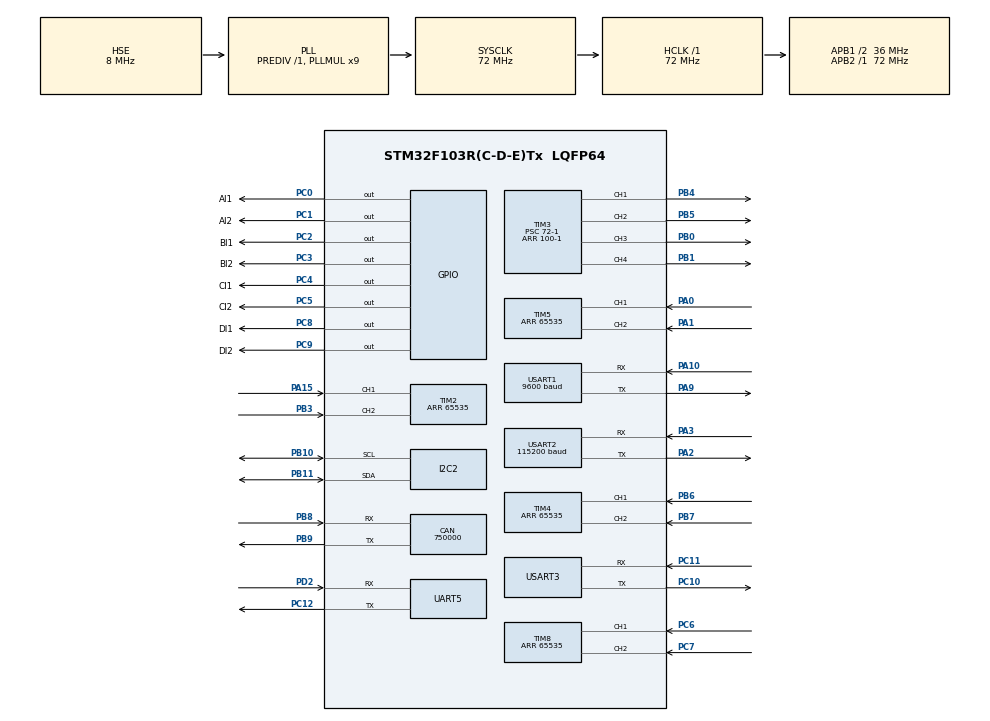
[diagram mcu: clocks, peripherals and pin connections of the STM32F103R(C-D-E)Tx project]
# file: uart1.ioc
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CAN.CalculateBaudRate=750000
CAN.CalculateTimeBit=1333.33
CAN.CalculateTimeQuantum=444.44444444444446
Mcu.Family=STM32F1
Mcu.Name=STM32F103R(C-D-E)Tx
Mcu.Package=LQFP64
NVIC.PriorityGroup=NVIC_PRIORITYGROUP_4
NVIC.TIM2_IRQn=true\:0\:0\:true\:false\:true\:true\:true
NVIC.TIM4_IRQn=true\:0\:0\:false\:false\:true\:true\:true
NVIC.TIM5_IRQn=true\:0\:0\:false\:false\:true\:true\:true
NVIC.TIM6_IRQn=true\:0\:0\:false\:false\:true\:true\:true
NVIC.TIM7_IRQn=true\:1\:0\:true\:false\:true\:true\:true
NVIC.TIM8_BRK_IRQn=true\:0\:0\:false\:false\:true\:true\:true
NVIC.USART1_IRQn=true\:0\:0\:false\:false\:true\:true\:true
NVIC.USART2_IRQn=true\:0\:0\:false\:false\:true\:true\:true
PA0-WKUP.GPIO_PuPd=GPIO_PULLUP
PA0-WKUP.Signal=S_TIM5_CH1
PA1.GPIO_PuPd=GPIO_PULLUP
PA1.Signal=S_TIM5_CH2
PA10.Mode=Asynchronous
PA10.Signal=USART1_RX
PA13.Mode=Serial_Wire
PA13.Signal=SYS_JTMS-SWDIO
PA14.Mode=Serial_Wire
PA14.Signal=SYS_JTCK-SWCLK
PA15.GPIO_PuPd=GPIO_PULLUP
PA15.Signal=S_TIM2_CH1_ETR
PA2.Mode=Asynchronous
PA2.Signal=USART2_TX
PA3.Mode=Asynchronous
PA3.Signal=USART2_RX
PA9.Mode=Asynchronous
PA9.Signal=USART1_TX
PB0.Signal=S_TIM3_CH3
PB1.Signal=S_TIM3_CH4
PB10.Mode=I2C
PB10.Signal=I2C2_SCL
PB11.Mode=I2C
PB11.Signal=I2C2_SDA
PB3.GPIO_PuPd=GPIO_PULLUP
PB3.Signal=S_TIM2_CH2
PB4.Signal=S_TIM3_CH1
PB5.Signal=S_TIM3_CH2
PB6.GPIO_PuPd=GPIO_PULLUP
PB6.Signal=S_TIM4_CH1
PB7.GPIO_PuPd=GPIO_PULLUP
PB7.Signal=S_TIM4_CH2
PB8.Mode=CAN_Activate
PB8.Signal=CAN_RX
PB9.Mode=CAN_Activate
PB9.Signal=CAN_TX
PC0.GPIO_Label=AI1
PC0.GPIO_PuPd=GPIO_PULLUP
PC0.PinState=GPIO_PIN_SET
PC0.Signal=GPIO_Output
PC1.GPIO_Label=AI2
PC1.GPIO_PuPd=GPIO_PULLUP
PC1.PinState=GPIO_PIN_RESET
PC1.Signal=GPIO_Output
PC10.Mode=Asynchronous
PC10.Signal=USART3_TX
PC11.Mode=Asynchronous
PC11.Signal=USART3_RX
PC12.Mode=Asynchronous
PC12.Signal=UART5_TX
PC2.GPIO_Label=BI1
PC2.GPIO_ModeDefaultOutputPP=GPIO_MODE_OUTPUT_PP
PC2.GPIO_PuPd=GPIO_PULLUP
PC2.PinState=GPIO_PIN_SET
PC2.Signal=GPIO_Output
PC3.GPIO_Label=BI2
PC3.GPIO_PuPd=GPIO_PULLUP
PC3.PinState=GPIO_PIN_RESET
PC3.Signal=GPIO_Output
PC4.GPIO_Label=CI1
PC4.GPIO_PuPd=GPIO_PULLUP
PC4.PinState=GPIO_PIN_SET
PC4.Signal=GPIO_Output
PC5.GPIO_Label=CI2
PC5.GPIO_PuPd=GPIO_PULLUP
PC5.PinState=GPIO_PIN_RESET
PC5.Signal=GPIO_Output
PC6.GPIO_PuPd=GPIO_PULLUP
PC6.Signal=S_TIM8_CH1
PC7.GPIO_PuPd=GPIO_PULLUP
PC7.Signal=S_TIM8_CH2
PC8.GPIO_Label=DI1
PC8.GPIO_PuPd=GPIO_PULLUP
PC8.PinState=GPIO_PIN_SET
PC8.Signal=GPIO_Output
PC9.GPIO_Label=DI2
PC9.GPIO_PuPd=GPIO_PULLUP
PC9.PinState=GPIO_PIN_RESET
PC9.Signal=GPIO_Output
PD0-OSC_IN.Mode=HSE-External-Oscillator
PD0-OSC_IN.Signal=RCC_OSC_IN
PD1-OSC_OUT.Mode=HSE-External-Oscillator
PD1-OSC_OUT.Signal=RCC_OSC_OUT
PD2.Mode=Asynchronous
PD2.Signal=UART5_RX
ProjectManager.HeapSize=0x200
ProjectManager.StackSize=0x400
ProjectManager.TargetToolchain=MDK-ARM V5.32
RCC.AHBFreq_Value=72000000
RCC.APB1CLKDivider=RCC_HCLK_DIV2
RCC.APB1Freq_Value=36000000
RCC.APB1TimFreq_Value=72000000
RCC.APB2Freq_Value=72000000
RCC.APB2TimFreq_Value=72000000
RCC.HCLKFreq_Value=72000000
RCC.PLLMUL=RCC_PLL_MUL9
RCC.PLLSourceVirtual=RCC_PLLSOURCE_HSE
RCC.SYSCLKFreq_VALUE=72000000
RCC.SYSCLKSource=RCC_SYSCLKSOURCE_PLLCLK
RCC.USBFreq_Value=72000000
SH.S_TIM2_CH1_ETR.0=TIM2_CH1,Encoder_Interface
SH.S_TIM2_CH2.0=TIM2_CH2,Encoder_Interface
SH.S_TIM3_CH1.0=TIM3_CH1,PWM Generation1 CH1
SH.S_TIM3_CH2.0=TIM3_CH2,PWM Generation2 CH2
SH.S_TIM3_CH3.0=TIM3_CH3,PWM Generation3 CH3
SH.S_TIM3_CH4.0=TIM3_CH4,PWM Generation4 CH4
SH.S_TIM4_CH1.0=TIM4_CH1,Encoder_Interface
SH.S_TIM4_CH2.0=TIM4_CH2,Encoder_Interface
SH.S_TIM5_CH1.0=TIM5_CH1,Encoder_Interface
SH.S_TIM5_CH2.0=TIM5_CH2,Encoder_Interface
SH.S_TIM8_CH1.0=TIM8_CH1,Encoder_Interface
SH.S_TIM8_CH2.0=TIM8_CH2,Encoder_Interface
TIM2.AutoReloadPreload=TIM_AUTORELOAD_PRELOAD_DISABLE
TIM2.EncoderMode=TIM_ENCODERMODE_TI12
TIM2.IC1Filter=6
TIM2.IC2Filter=6
TIM2.Period=65535
TIM3.AutoReloadPreload=TIM_AUTORELOAD_PRELOAD_ENABLE
TIM3.Channel-PWM\ Generation1\ CH1=TIM_CHANNEL_1
TIM3.Channel-PWM\ Generation2\ CH2=TIM_CHANNEL_2
TIM3.Channel-PWM\ Generation3\ CH3=TIM_CHANNEL_3
TIM3.Channel-PWM\ Generation4\ CH4=TIM_CHANNEL_4
TIM3.Period=100-1
TIM3.Prescaler=72-1
TIM4.AutoReloadPreload=TIM_AUTORELOAD_PRELOAD_DISABLE
TIM4.EncoderMode=TIM_ENCODERMODE_TI12
TIM4.IC1Filter=6
TIM4.IC2Filter=6
TIM4.Period=65535
TIM5.EncoderMode=TIM_ENCODERMODE_TI12
TIM5.IC1Filter=6
TIM5.IC2Filter=6
TIM5.Period=65535
TIM6.AutoReloadPreload=TIM_AUTORELOAD_PRELOAD_ENABLE
TIM6.Period=100-1
TIM6.Prescaler=72-1
TIM7.AutoReloadPreload=TIM_AUTORELOAD_PRELOAD_ENABLE
TIM7.Period=100-1
TIM7.Prescaler=1440-1
TIM8.EncoderMode=TIM_ENCODERMODE_TI12
TIM8.IC1Filter=6
TIM8.IC2Filter=6
TIM8.Period=65535
UART5.VirtualMode=Asynchronous
USART1.BaudRate=9600
USART1.VirtualMode=VM_ASYNC
USART2.BaudRate=115200
USART2.VirtualMode=VM_ASYNC
USART3.VirtualMode=VM_ASYNC
VP_TIM6_VS_ClockSourceINT.Mode=Enable_Timer
VP_TIM7_VS_ClockSourceINT.Mode=Enable_Timer
board=custom

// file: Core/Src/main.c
/* USER CODE BEGIN Header */
/**
  ******************************************************************************
  * @file           : main.c
  * @brief          : Main program body
  ******************************************************************************
  * @attention
  *
  * <h2><center>&copy; Copyright (c) 2024 STMicroelectronics.
  * All rights reserved.</center></h2>
  *
  * This software component is licensed by ST under BSD 3-Clause license,
  * the "License"; You may not use this file except in compliance with the
  * License. You may obtain a copy of the License at:
  *                        opensource.org/licenses/BSD-3-Clause
  *
  ******************************************************************************
  */
/* USER CODE END Header */
#include "main.h"
#include "can.h"
#include "i2c.h"
#include "tim.h"
#include "usart.h"
#include "gpio.h"

/* USER CODE BEGIN Includes */
#include "callback.h"
#include "motor.h"

/* USER CODE END Includes */

void SystemClock_Config(void);

int main(void)
{

  /* MCU Configuration--------------------------------------------------------*/

  /* Reset of all peripherals, Initializes the Flash interface and the Systick. */
  HAL_Init();

  /* Configure the system clock */
  SystemClock_Config();

  /* Initialize all configured peripherals */
  MX_GPIO_Init();
  MX_USART1_UART_Init();
  MX_USART2_UART_Init();
  MX_TIM2_Init();
  MX_TIM3_Init();
  MX_TIM4_Init();
  MX_TIM5_Init();
  MX_TIM8_Init();
  MX_TIM7_Init();
  MX_CAN_Init();
  MX_I2C2_Init();
  MX_TIM6_Init();
  MX_UART5_Init();
  MX_USART3_UART_Init();
  /* USER CODE BEGIN 2 */
/* ????while(1)?? */
	HAL_UART_Receive_IT(&huart1, &Data, 1);//????????
	HAL_UART_Receive_IT(&huart2, &USART2Byte, 1);//????????
	HAL_UART_Receive_IT(&huart3, &USART3Byte, 1);//????????
	HAL_UART_Receive_IT(&huart5, &USART5Byte, 1);//???????
	Motor_Init();
			MotorSet(-65,-80,-50,-50);

  /* USER CODE END 2 */

  /* Infinite loop */
  while (1)
  {

    /* USER CODE BEGIN 3 */
		if(USART2_RX_STA&0x8000)
		{
		//	printf("Yaw Angle: %.2f \r\n", yaw_angle);
			USART2_RX_STA=0;
		}
		if(TIME7_STA==1){
			printf("speed1: %f  \r\n",Speed2);
			TIME7_STA=0;
			//cal speed & motor here with timer controll every 10sconeds
		}
		if(TIME6_STA==1){
			TIME6_STA=0;
		}
		HAL_Delay(1000);
  }

  /* USER CODE END 3 */
}

void SystemClock_Config(void)
{
  RCC_OscInitTypeDef RCC_OscInitStruct = {0};
  RCC_ClkInitTypeDef RCC_ClkInitStruct = {0};

  /** Initializes the RCC Oscillators according to the specified parameters
  * in the RCC_OscInitTypeDef structure.
  */
  RCC_OscInitStruct.OscillatorType = RCC_OSCILLATORTYPE_HSE;
  RCC_OscInitStruct.HSEState = RCC_HSE_ON;
  RCC_OscInitStruct.HSEPredivValue = RCC_HSE_PREDIV_DIV1;
  RCC_OscInitStruct.HSIState = RCC_HSI_ON;
  RCC_OscInitStruct.PLL.PLLState = RCC_PLL_ON;
  RCC_OscInitStruct.PLL.PLLSource = RCC_PLLSOURCE_HSE;
  RCC_OscInitStruct.PLL.PLLMUL = RCC_PLL_MUL9;
  if (HAL_RCC_OscConfig(&RCC_OscInitStruct) != HAL_OK)
  {
    Error_Handler();
  }
  /** Initializes the CPU, AHB and APB buses clocks
  */
  RCC_ClkInitStruct.ClockType = RCC_CLOCKTYPE_HCLK|RCC_CLOCKTYPE_SYSCLK
                              |RCC_CLOCKTYPE_PCLK1|RCC_CLOCKTYPE_PCLK2;
  RCC_ClkInitStruct.SYSCLKSource = RCC_SYSCLKSOURCE_PLLCLK;
  RCC_ClkInitStruct.AHBCLKDivider = RCC_SYSCLK_DIV1;
  RCC_ClkInitStruct.APB1CLKDivider = RCC_HCLK_DIV2;
  RCC_ClkInitStruct.APB2CLKDivider = RCC_HCLK_DIV1;

  if (HAL_RCC_ClockConfig(&RCC_ClkInitStruct, FLASH_LATENCY_2) != HAL_OK)
  {
    Error_Handler();
  }
}

void Error_Handler(void)
{
  __disable_irq();
  while (1)
  {
  }
}

/************************ (C) COPYRIGHT STMicroelectronics *****END OF FILE****/
